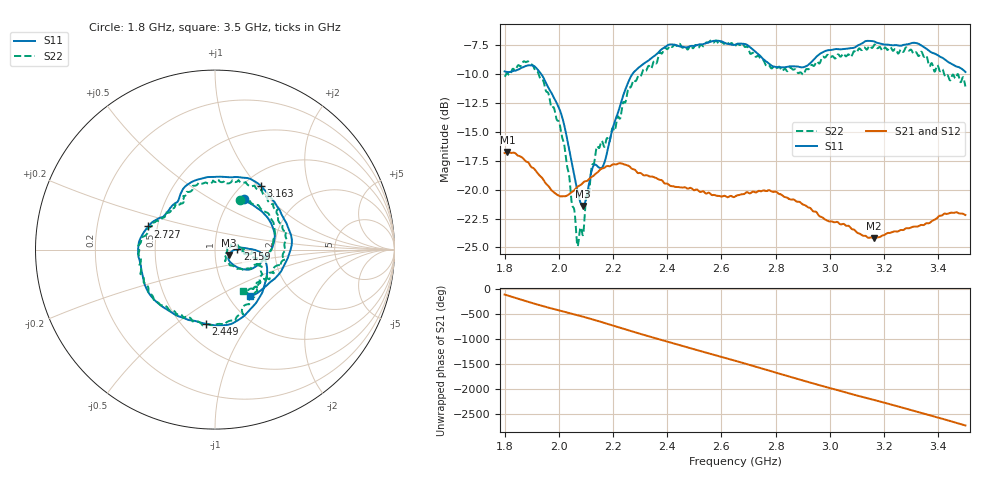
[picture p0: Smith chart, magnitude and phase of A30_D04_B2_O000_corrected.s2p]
! Created with skrf 1.9.0 (http://scikit-rf.org).
# Hz S RI R 50.0
!freq ReS11 ImS11 ReS21 ImS21 ReS12 ImS12 ReS22 ImS22
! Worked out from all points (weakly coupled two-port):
!   1601 points, 1.8 GHz to 3.5 GHz, reference 50 ohm
!   highest |S21| = -16.74 dB at 1.811 GHz (marker M1); lowest = -24.2 dB at 3.163 GHz (marker M2)
!   lowest |S11| = -21.4 dB at 2.09 GHz (marker M3), VSWR 1.19, Z = 58.5 - j3.59 ohm
!   |S11| at or under -10 dB: 1.935 GHz to 2.271 GHz (336.5 MHz wide, 16 % of centre)
!   |S22| runs from -24.9 to -7.1 dB; largest |S21 - S12| = 0.0024
!   S11 on the Smith chart (normalised r, x): 1.8 GHz: 1.14, +0.72; 2.159 GHz: 1.28, +0.00; 2.449 GHz: 0.65, -0.65; 2.727 GHz: 0.44, +0.14; 3.163 GHz: 1.19, +1.05; 3.5 GHz: 1.25, -0.72
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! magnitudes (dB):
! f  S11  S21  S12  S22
! 1.8 GHz  -9.8  -16.8  -16.8  -10.2
! 1.811 GHz  -9.8  -16.7  -16.7  -9.9
! 1.882 GHz  -9.3  -17.6  -17.6  -8.9
! 1.941 GHz  -10.2  -19.1  -19.1  -10.5
! 2.01 GHz  -13.6  -20.6  -20.6  -15.3
! 2.067 GHz  -19.9  -19.8  -19.8  -24.6
! 2.084 GHz  -21.3  -19.5  -19.5  -23.4
! 2.09 GHz  -21.4  -19.4  -19.4  -23.9
! 2.127 GHz  -18.0  -18.8  -18.8  -17.8
! 2.159 GHz  -18.1  -18.2  -18.1  -15.8
! 2.189 GHz  -15.6  -18.0  -18.0  -15.7
! 2.262 GHz  -10.4  -18.0  -18.0  -11.2
! 2.367 GHz  -8.1  -19.1  -19.0  -8.4
! 2.449 GHz  -7.6  -19.8  -19.8  -7.5
! 2.65 GHz  -7.5  -20.6  -20.6  -7.6
! 2.727 GHz  -8.1  -20.2  -20.2  -8.5
! 2.8 GHz  -9.4  -20.2  -20.2  -9.4
! 2.934 GHz  -8.9  -21.8  -21.7  -9.2
! 3.163 GHz  -7.2  -24.2  -24.2  -7.5
! 3.217 GHz  -7.5  -23.7  -23.7  -7.8
! 3.324 GHz  -7.3  -23.2  -23.1  -8.3
! 3.5 GHz  -9.8  -22.2  -22.2  -11.1
